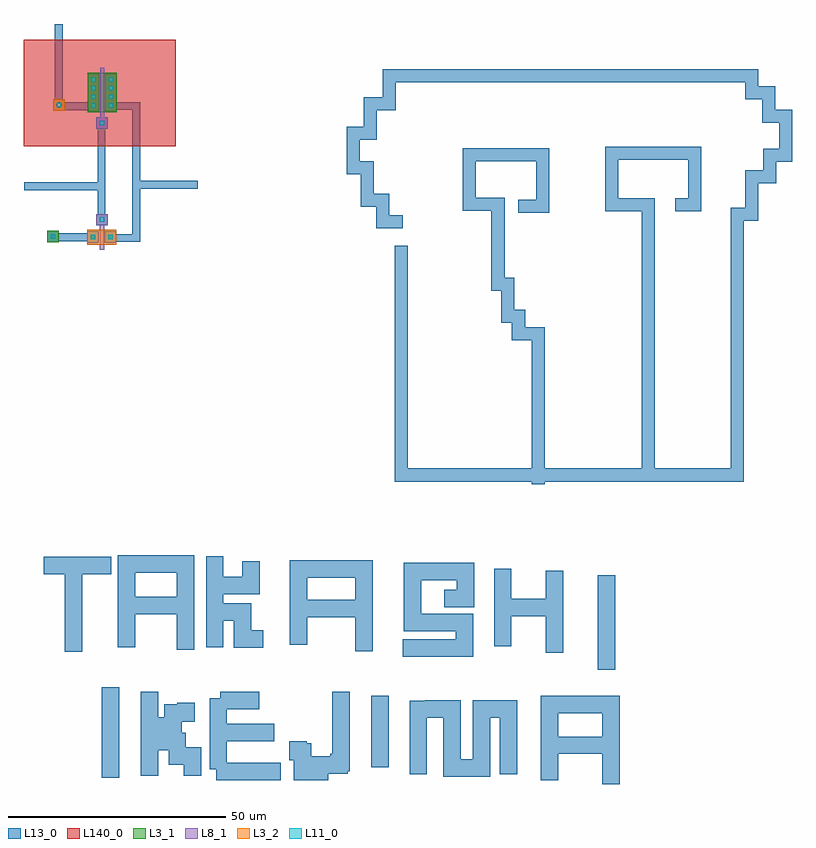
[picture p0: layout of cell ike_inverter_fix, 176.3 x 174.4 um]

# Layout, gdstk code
import gdstk
lib = gdstk.Library(unit=1e-6, precision=1e-07)
def R(c, l, rs):  # rectangles x0, y0, x1, y1
    for r in rs: c.add(gdstk.rectangle(r[:2], r[2:], *l))
def A(c, l, x, y, w, h, nx, ny, dx, dy):  # array of equal rectangles
    R(c, l, [(x+i*dx, y+j*dy, x+i*dx+w, y+j*dy+h) for i in range(nx) for j in range(ny)])
L3_1 = (3, 1)
L3_2 = (3, 2)
L8_1 = (8, 1)
L11_0 = (11, 0)
L13_0 = (13, 0)
L140_0 = (140, 0)

fet_p = lib.new_cell('fet_p')
R(fet_p, L3_1, [(-3.3,-4.5,3.3,4.5)])
A(fet_p, L11_0, -2.5, -3.5, 1, 1, 1, 4, 0, 2)
A(fet_p, L11_0, 1.5, -3.5, 1, 1, 1, 4, 0, 2)
R(fet_p, L13_0, [(-3.3,-4.3,-0.7,4.3), (0.7,-4.3,3.3,4.3)])
fet_p.add(gdstk.FlexPath([(0,-5.7),(0,5.7)], 1, ends="flush", simple_path=True, layer=8, datatype=1))  # L8_1

cont_g = lib.new_cell('cont_g')
R(cont_g, L8_1, [(-1.3,-1.3,1.3,1.3)])
R(cont_g, L11_0, [(-0.5,-0.5,0.5,0.5)])
R(cont_g, L13_0, [(-1.3,-1.3,1.3,1.3)])

fet_n = lib.new_cell('fet_n')
R(fet_n, L3_2, [(-3.3,-1.7,3.3,1.7)])
R(fet_n, L11_0, [(-2.5,-0.5,-1.5,0.5), (1.5,-0.5,2.5,0.5)])
R(fet_n, L13_0, [(-3.3,-1.3,-0.7,1.3), (0.7,-1.3,3.3,1.3)])
fet_n.add(gdstk.FlexPath([(0,-2.9),(0,2.9)], 1, ends="flush", simple_path=True, layer=8, datatype=1))  # L8_1

cont_n = lib.new_cell('cont_n')
R(cont_n, L3_2, [(-1.3,-1.3,1.3,1.3)])
R(cont_n, L11_0, [(-0.5,-0.5,0.5,0.5)])
R(cont_n, L13_0, [(-1.3,-1.3,1.3,1.3)])

cont_p = lib.new_cell('cont_p')
R(cont_p, L3_1, [(-1.3,-1.3,1.3,1.3)])
R(cont_p, L11_0, [(-0.5,-0.5,0.5,0.5)])
R(cont_p, L13_0, [(-1.3,-1.3,1.3,1.3)])

ike_inverter_fix = lib.new_cell('ike_inverter_fix')
R(ike_inverter_fix, L140_0, [(-17.4,-8,17.5,16.5)])
ike_inverter_fix.add(gdstk.FlexPath([(69.6,-25.3),(65,-25.3),(65,-20.3),(61.4,-20.3),(61.4,-12.9),(58.2,-12.9),(58.2,-5),(62.1,-5),(62.1,1.8),(66.4,1.8),(66.4,8.2),(149.6,8.2),(149.6,4.3),(153.5,4.3),(153.5,-1.1),(157.4,-1.1),(157.4,-10),(153.8,-10),(153.8,-15),(149.6,-15),(149.6,-23.6),(146.3,-23.6),(146.3,-83.4),(69.2,-83.4),(69.2,-30.8)], 3, ends="flush", simple_path=True, layer=13, datatype=0))  # L13_0
ike_inverter_fix.add(gdstk.FlexPath([(-12.8,-104.2),(2.6,-104.2)], 4, ends="flush", simple_path=True, layer=13, datatype=0))  # L13_0
ike_inverter_fix.add(gdstk.FlexPath([(-6,-104.2),(-6,-123.9)], 4, ends="flush", simple_path=True, layer=13, datatype=0))  # L13_0
ike_inverter_fix.add(gdstk.FlexPath([(6.2,-122.9),(6.2,-103.8),(19.7,-103.8),(19.7,-123.5)], 4, ends="flush", simple_path=True, layer=13, datatype=0))  # L13_0
ike_inverter_fix.add(gdstk.FlexPath([(6.8,-113.3),(18.8,-113.3)], 4, ends="flush", simple_path=True, layer=13, datatype=0))  # L13_0
ike_inverter_fix.add(gdstk.FlexPath([(45.6,-122.3),(45.6,-105),(60.7,-105),(60.7,-123.8)], 4, ends="flush", simple_path=True, layer=13, datatype=0))  # L13_0
ike_inverter_fix.add(gdstk.FlexPath([(45.9,-114),(60.4,-114)], 4, ends="flush", simple_path=True, layer=13, datatype=0))  # L13_0
ike_inverter_fix.add(gdstk.FlexPath([(79.1,-111.7),(83.9,-111.7),(83.9,-105.5),(71.8,-105.5),(71.8,-117.2),(83.7,-117.2),(83.7,-123.1),(69.6,-123.1)], 4, ends="flush", simple_path=True, layer=13, datatype=0))  # L13_0
ike_inverter_fix.add(gdstk.FlexPath([(92.5,-104.9),(92.5,-122.7)], 4, ends="flush", simple_path=True, layer=13, datatype=0))  # L13_0
ike_inverter_fix.add(gdstk.FlexPath([(93,-113.8),(102.4,-113.8)], 4, ends="flush", simple_path=True, layer=13, datatype=0))  # L13_0
ike_inverter_fix.add(gdstk.FlexPath([(104.4,-105.4),(104.4,-124.2)], 4, ends="flush", simple_path=True, layer=13, datatype=0))  # L13_0
ike_inverter_fix.add(gdstk.FlexPath([(116.3,-106.4),(116.3,-128.1)], 4, ends="flush", simple_path=True, layer=13, datatype=0))  # L13_0
ike_inverter_fix.add(gdstk.FlexPath([(2.5,-132.1),(2.5,-152.9)], 4, ends="flush", simple_path=True, layer=13, datatype=0))  # L13_0
ike_inverter_fix.add(gdstk.FlexPath([(11.4,-133.1),(11.4,-152.4)], 4, ends="flush", simple_path=True, layer=13, datatype=0))  # L13_0
ike_inverter_fix.add(gdstk.FlexPath([(11.9,-141),(16.8,-141),(16.8,-138),(19.8,-138),(19.8,-135.6)], 4, ends="flush", simple_path=True, layer=13, datatype=0))  # L13_0
ike_inverter_fix.add(gdstk.FlexPath([(12.9,-144.5),(17.8,-144.5),(17.8,-147.9),(21.3,-147.9),(21.3,-152.4)], 4, ends="flush", simple_path=True, layer=13, datatype=0))  # L13_0
ike_inverter_fix.add(gdstk.FlexPath([(27.2,-134.6),(27.2,-150.9)], 4, ends="flush", simple_path=True, layer=13, datatype=0))  # L13_0
ike_inverter_fix.add(gdstk.FlexPath([(27.7,-135.1),(36.6,-135.1)], 4, ends="flush", simple_path=True, layer=13, datatype=0))  # L13_0
ike_inverter_fix.add(gdstk.FlexPath([(27.7,-142.5),(40.1,-142.5)], 4, ends="flush", simple_path=True, layer=13, datatype=0))  # L13_0
ike_inverter_fix.add(gdstk.FlexPath([(26.7,-151.4),(41.6,-151.4)], 4, ends="flush", simple_path=True, layer=13, datatype=0))  # L13_0
ike_inverter_fix.add(gdstk.FlexPath([(55.4,-133.1),(55.4,-149.4),(54.9,-149.4),(54.9,-149.9),(50.5,-149.9),(50.5,-151.4),(46.5,-151.4),(46.5,-146.9),(45.5,-146.9),(45.5,-144.5)], 4, ends="flush", simple_path=True, layer=13, datatype=0))  # L13_0
ike_inverter_fix.add(gdstk.FlexPath([(64.3,-134.1),(64.3,-150.4)], 4, ends="flush", simple_path=True, layer=13, datatype=0))  # L13_0
ike_inverter_fix.add(gdstk.FlexPath([(73.1,-135.2),(73.1,-152.1)], 4, ends="flush", simple_path=True, layer=13, datatype=0))  # L13_0
ike_inverter_fix.add(gdstk.FlexPath([(74.6,-137.1),(80.8,-137.1),(80.8,-150.6),(87.6,-150.6),(87.6,-137.1),(93.8,-137.1),(93.8,-152.1)], 4, ends="flush", simple_path=True, layer=13, datatype=0))  # L13_0
ike_inverter_fix.add(gdstk.FlexPath([(103.2,-153.4),(103.2,-136.1),(117.3,-136.1),(117.3,-154.3)], 4, ends="flush", simple_path=True, layer=13, datatype=0))  # L13_0
ike_inverter_fix.add(gdstk.FlexPath([(104.7,-145.4),(116.4,-145.4)], 4, ends="flush", simple_path=True, layer=13, datatype=0))  # L13_0
ike_inverter_fix.add(gdstk.FlexPath([(26.4,-102),(26.4,-122.9)], 4, ends="flush", simple_path=True, layer=13, datatype=0))  # L13_0
ike_inverter_fix.add(gdstk.FlexPath([(26.9,-108.7),(34.7,-108.7),(34.7,-103.2)], 4, ends="flush", simple_path=True, layer=13, datatype=0))  # L13_0
ike_inverter_fix.add(gdstk.FlexPath([(26.6,-114.8),(32.8,-114.8),(32.8,-121),(37.5,-121)], 4, ends="flush", simple_path=True, layer=13, datatype=0))  # L13_0
ike_inverter_fix.add(gdstk.FlexPath([(100.6,-85.5),(100.6,-51),(96.1,-51),(96.1,-47),(93.6,-47),(93.6,-39.6),(91.4,-39.6),(91.4,-21.3),(84.8,-21.3),(84.8,-9.9),(101.7,-9.9),(101.7,-21.7),(96.1,-21.7)], 3, ends="flush", simple_path=True, layer=13, datatype=0))  # L13_0
ike_inverter_fix.add(gdstk.FlexPath([(125.9,-84.9),(125.9,-21.4),(117.5,-21.4),(117.5,-9.6),(136.6,-9.6),(136.6,-21.4),(132.1,-21.4)], 3, ends="flush", simple_path=True, layer=13, datatype=0))  # L13_0
ike_inverter_fix.add(gdstk.FlexPath([(0.4,-3.7),(0.4,-24)], 1.8, ends="flush", simple_path=True, layer=13, datatype=0))  # L13_0
ike_inverter_fix.add(gdstk.FlexPath([(0,-17.1),(-17.3,-17.1)], 1.8, ends="flush", simple_path=True, layer=13, datatype=0))  # L13_0
ike_inverter_fix.add(gdstk.FlexPath([(-8.3,1.2),(-2.4,1.2)], 1.8, ends="flush", simple_path=True, layer=13, datatype=0))  # L13_0
ike_inverter_fix.add(gdstk.FlexPath([(8.9,-16.8),(22.5,-16.8)], 1.8, ends="flush", simple_path=True, layer=13, datatype=0))  # L13_0
ike_inverter_fix.add(gdstk.FlexPath([(-9.8,-28.8),(-2.4,-28.8)], 1.8, ends="flush", simple_path=True, layer=13, datatype=0))  # L13_0
ike_inverter_fix.add(gdstk.FlexPath([(-9.4,2.4),(-9.4,20.1)], 1.8, ends="flush", simple_path=True, layer=13, datatype=0))  # L13_0
ike_inverter_fix.add(gdstk.FlexPath([(3.6,-29),(8.4,-29),(8.4,1.3),(3.4,1.3)], 1.8, ends="flush", simple_path=True, layer=13, datatype=0))  # L13_0
ike_inverter_fix.add(gdstk.Reference(fet_p, (0.6,4.4)))
ike_inverter_fix.add(gdstk.Reference(cont_g, (0.5,-2.6)))
ike_inverter_fix.add(gdstk.Reference(fet_n, (0.5,-28.8)))
ike_inverter_fix.add(gdstk.Reference(cont_g, (0.5,-24.8)))
ike_inverter_fix.add(gdstk.Reference(cont_n, (-9.3,1.5)))
ike_inverter_fix.add(gdstk.Reference(cont_p, (-10.7,-28.7)))

lib.write_gds('ike_inverter_fix.gds')
